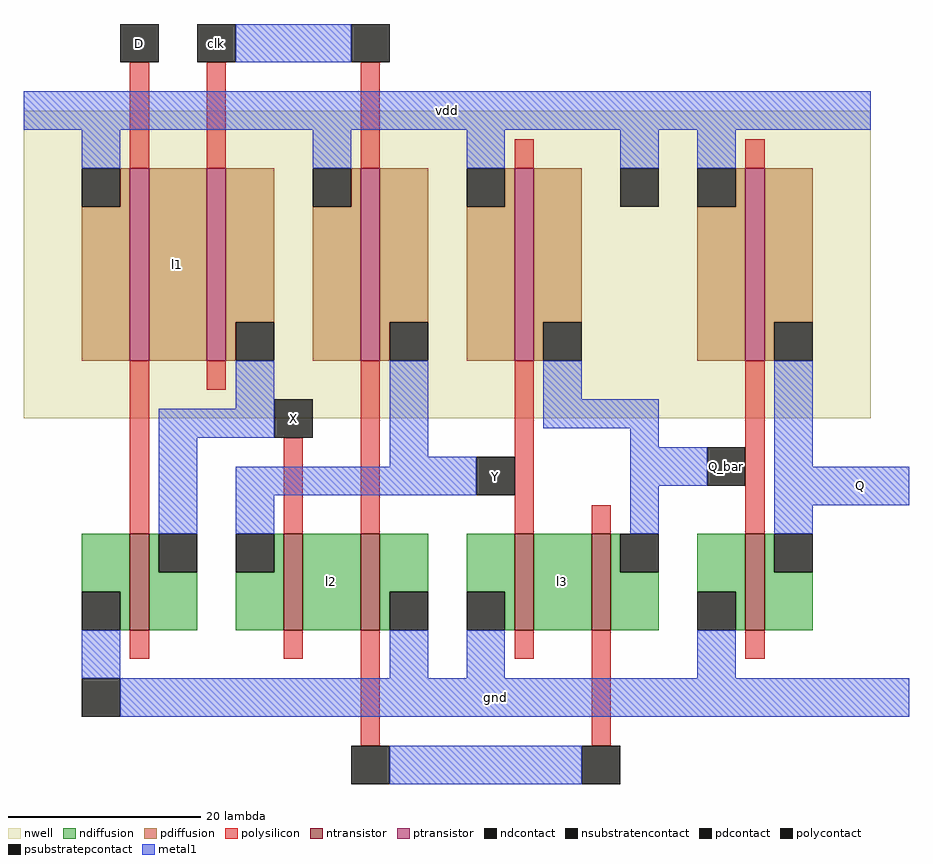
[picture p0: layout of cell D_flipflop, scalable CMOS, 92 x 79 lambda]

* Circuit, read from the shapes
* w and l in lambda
.subckt D_flipflop D Q Q_bar X Y clk gnd l1 l2 l3 vdd
M1 X D gnd gnd nfet w=10 l=2
M2 l2 X Y gnd nfet w=10 l=2
M3 gnd clk l2 gnd nfet w=10 l=2
M4 l3 Y gnd gnd nfet w=10 l=2
M5 Q_bar clk l3 gnd nfet w=10 l=2
M6 Q Q_bar gnd gnd nfet w=10 l=2
M7 l1 D vdd vdd pfet w=20 l=2
M8 X clk l1 vdd pfet w=20 l=2
M9 Y clk vdd vdd pfet w=20 l=2
M10 Q_bar Y vdd vdd pfet w=20 l=2
M11 Q Q_bar vdd vdd pfet w=20 l=2
.ends

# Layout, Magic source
magic
tech scmos
<< nwell >>
rect 0 0 88 32
<< ntransistor >>
rect 11 -22 13 -12
rect 27 -22 29 -12
rect 35 -22 37 -12
rect 51 -22 53 -12
rect 59 -22 61 -12
rect 75 -22 77 -12
<< ptransistor >>
rect 11 6 13 26
rect 19 6 21 26
rect 35 6 37 26
rect 51 6 53 26
rect 75 6 77 26
<< ndiffusion >>
rect 6 -18 11 -12
rect 10 -22 11 -18
rect 13 -16 14 -12
rect 13 -22 18 -16
rect 26 -16 27 -12
rect 22 -22 27 -16
rect 29 -22 35 -12
rect 37 -18 42 -12
rect 37 -22 38 -18
rect 46 -18 51 -12
rect 50 -22 51 -18
rect 53 -22 59 -12
rect 61 -16 62 -12
rect 61 -22 66 -16
rect 70 -18 75 -12
rect 74 -22 75 -18
rect 77 -16 78 -12
rect 77 -22 82 -16
<< pdiffusion >>
rect 10 22 11 26
rect 6 6 11 22
rect 13 6 19 26
rect 21 10 26 26
rect 21 6 22 10
rect 34 22 35 26
rect 30 6 35 22
rect 37 10 42 26
rect 37 6 38 10
rect 50 22 51 26
rect 46 6 51 22
rect 53 10 58 26
rect 74 22 75 26
rect 53 6 54 10
rect 70 6 75 22
rect 77 10 82 26
rect 77 6 78 10
<< ndcontact >>
rect 6 -22 10 -18
rect 14 -16 18 -12
rect 22 -16 26 -12
rect 38 -22 42 -18
rect 46 -22 50 -18
rect 62 -16 66 -12
rect 70 -22 74 -18
rect 78 -16 82 -12
<< pdcontact >>
rect 6 22 10 26
rect 22 6 26 10
rect 30 22 34 26
rect 38 6 42 10
rect 46 22 50 26
rect 70 22 74 26
rect 54 6 58 10
rect 78 6 82 10
<< psubstratepcontact >>
rect 6 -31 10 -27
<< nsubstratencontact >>
rect 62 22 66 26
<< polysilicon >>
rect 11 26 13 37
rect 19 26 21 37
rect 35 26 37 37
rect 51 26 53 29
rect 75 26 77 29
rect 11 -12 13 6
rect 19 3 21 6
rect 27 -12 29 -2
rect 35 -12 37 6
rect 51 -12 53 6
rect 59 -12 61 -9
rect 75 -12 77 6
rect 11 -25 13 -22
rect 27 -25 29 -22
rect 35 -34 37 -22
rect 51 -25 53 -22
rect 59 -34 61 -22
rect 75 -25 77 -22
<< polycontact >>
rect 10 37 14 41
rect 18 37 22 41
rect 34 37 38 41
rect 26 -2 30 2
rect 47 -8 51 -4
rect 71 -7 75 -3
rect 34 -38 38 -34
rect 58 -38 62 -34
<< metal1 >>
rect 22 37 34 41
rect 0 30 88 34
rect 6 26 10 30
rect 30 26 34 30
rect 46 26 50 30
rect 62 26 66 30
rect 70 26 74 30
rect 22 1 26 6
rect 14 -2 26 1
rect 14 -12 18 -2
rect 38 -4 42 6
rect 54 2 58 6
rect 54 -1 66 2
rect 63 -3 66 -1
rect 38 -5 47 -4
rect 22 -8 47 -5
rect 63 -7 71 -3
rect 78 -5 82 6
rect 22 -12 26 -8
rect 63 -12 66 -7
rect 78 -9 92 -5
rect 78 -12 82 -9
rect 6 -27 10 -22
rect 38 -27 42 -22
rect 46 -27 50 -22
rect 70 -27 74 -22
rect 10 -31 92 -27
rect 38 -38 58 -34
<< labels >>
rlabel metal1 0 30 88 34 1 vdd
rlabel metal1 6 -31 92 -27 1 gnd
rlabel metal1 82 -9 92 -5 7 Q
rlabel polycontact 71 -7 75 -3 1 Q_bar
rlabel polycontact 47 -8 51 -4 1 Y
rlabel polycontact 26 -2 30 2 1 X
rlabel polycontact 18 37 22 41 5 clk
rlabel polycontact 10 37 14 41 5 D
rlabel pdiffusion 14 6 18 26 1 l1
rlabel ndiffusion 30 -22 34 -12 1 l2
rlabel ndiffusion 54 -22 58 -12 1 l3
<< end >>
